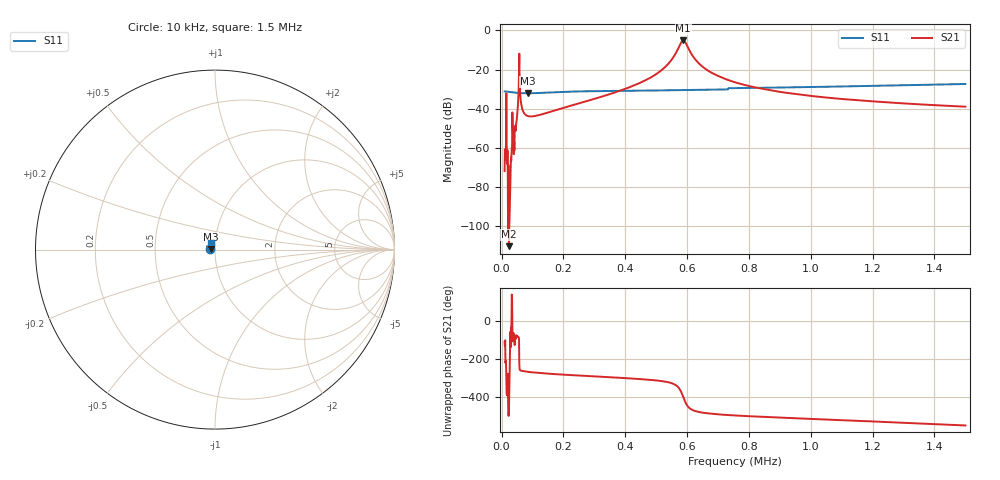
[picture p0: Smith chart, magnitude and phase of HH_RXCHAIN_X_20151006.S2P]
!Agilent Technologies,E5061B,MY49203226,A.02.09
!Date: Wed Oct 07 10:24:42 2015
!Data & Calibration Information:
!Freq	S11:RESPS(ON)	S21:RESPT(ON)	S12:NONE(--)	S22:NONE(--)
# Hz S dB R 50
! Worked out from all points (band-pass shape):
!   1600 points, 10 kHz to 1.5 MHz, reference 50 ohm
!   highest |S21| = -5.10 dB at 587.7 kHz (marker M1); lowest = -110.1 dB at 23.98 kHz (marker M2)
!   |S21| within 3 dB of the highest: 574.7 kHz to 601 kHz (26.34 kHz wide, 4.48 % of centre)
!   lowest |S11| = -32.1 dB at 85.48 kHz (marker M3), VSWR 1.05, Z = 47.6 + j0.174 ohm
!   |S11| at or under -10 dB: start of sweep to end of sweep
!   S12 and S22 are empty: the file has one direction only
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10000  -31.10 178.5  -71.81 -110.5  -200.00 0.0  -200.00 0.0
18386.49  -31.22 177.1  -68.13 9.4  -200.00 0.0  -200.00 0.0
23977.49  -31.33 176.3  -110.10 -116.1  -200.00 0.0  -200.00 0.0
26772.98  -31.38 176.0  -90.42 173.1  -200.00 0.0  -200.00 0.0
37954.97  -31.61 175.1  -51.24 -61.1  -200.00 0.0  -200.00 0.0
46341.46  -31.77 174.8  -49.03 -90.9  -200.00 0.0  -200.00 0.0
51000.62  -31.85 174.8  -42.20 -79.9  -200.00 0.0  -200.00 0.0
56591.62  -31.93 174.9  -21.60 -92.1  -200.00 0.0  -200.00 0.0
62182.61  -31.99 175.0  -35.69 99.0  -200.00 0.0  -200.00 0.0
72432.77  -32.06 175.4  -42.04 94.7  -200.00 0.0  -200.00 0.0
85478.42  -32.08 175.8  -43.68 91.7  -200.00 0.0  -200.00 0.0
258799.2  -31.09 169.1  -36.82 71.2  -200.00 0.0  -200.00 0.0
506666.7  -30.61 154.6  -21.56 44.9  -200.00 0.0  -200.00 0.0
567235.8  -30.48 151.8  -10.52 16.4  -200.00 0.0  -200.00 0.0
587736.1  -30.44 150.7  -5.10 -42.7  -200.00 0.0  -200.00 0.0
596122.6  -30.42 150.3  -6.56 -75.7  -200.00 0.0  -200.00 0.0
613827.4  -30.38 149.5  -11.90 -107.6  -200.00 0.0  -200.00 0.0
666010  -30.25 147.3  -20.34 -128.4  -200.00 0.0  -200.00 0.0
755465.9  -29.43 144.6  -26.47 -140.0  -200.00 0.0  -200.00 0.0
1004265  -28.85 135.7  -33.47 -158.4  -200.00 0.0  -200.00 0.0
1252133  -28.12 128.9  -36.72 -175.5  -200.00 0.0  -200.00 0.0
1500000  -27.32 123.4  -38.90 167.1  -200.00 0.0  -200.00 0.0
